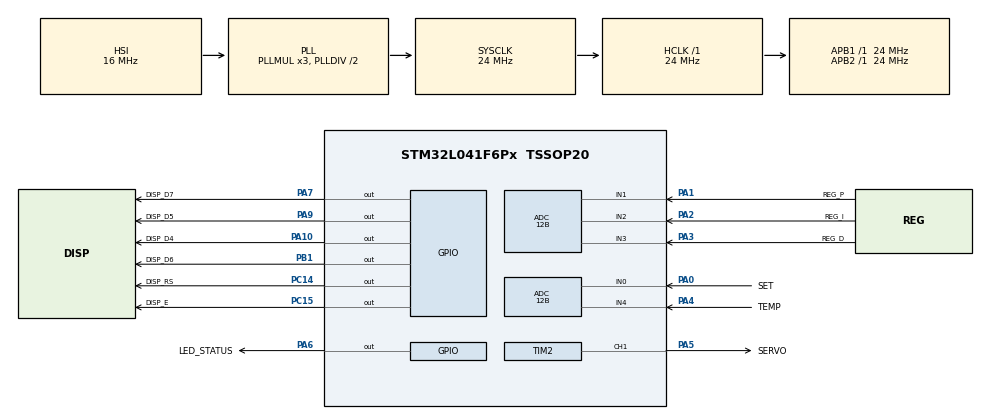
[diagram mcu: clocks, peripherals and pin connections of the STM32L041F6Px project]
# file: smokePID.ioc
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ADC.ClockPrescaler=ADC_CLOCK_SYNC_PCLK_DIV2
ADC.ContinuousConvMode=ENABLE
ADC.DMAContinuousRequests=ENABLE
ADC.Overrun=ADC_OVR_DATA_OVERWRITTEN
ADC.OversamplingMode=DISABLE
ADC.Resolution=ADC_RESOLUTION_12B
ADC.SamplingTime=ADC_SAMPLETIME_160CYCLES_5
Dma.ADC.0.Direction=DMA_PERIPH_TO_MEMORY
Dma.ADC.0.Instance=DMA1_Channel1
Dma.ADC.0.MemDataAlignment=DMA_MDATAALIGN_WORD
Dma.ADC.0.MemInc=DMA_MINC_ENABLE
Dma.ADC.0.Mode=DMA_CIRCULAR
Dma.ADC.0.PeriphDataAlignment=DMA_PDATAALIGN_WORD
Dma.ADC.0.PeriphInc=DMA_PINC_DISABLE
Dma.ADC.0.Priority=DMA_PRIORITY_LOW
Dma.Request0=ADC
Mcu.Family=STM32L0
Mcu.Name=STM32L041F6Px
Mcu.Package=TSSOP20
NVIC.DMA1_Channel1_IRQn=true\:0\:0\:false\:false\:true\:false\:true\:true
NVIC.TIM21_IRQn=true\:0\:0\:false\:false\:true\:true\:true\:true
PA0-CK_IN.GPIO_Label=SET
PA0-CK_IN.Mode=IN0
PA0-CK_IN.Signal=ADC_IN0
PA1.GPIO_Label=REG_P
PA1.Mode=IN1
PA1.Signal=ADC_IN1
PA10.GPIO_Label=DISP_D4
PA10.Signal=GPIO_Output
PA13.Mode=Serial_Wire
PA13.Signal=SYS_SWDIO
PA14.Mode=Serial_Wire
PA14.Signal=SYS_SWCLK
PA2.GPIO_Label=REG_I
PA2.Mode=IN2
PA2.Signal=ADC_IN2
PA3.GPIO_Label=REG_D
PA3.Mode=IN3
PA3.Signal=ADC_IN3
PA4.GPIO_Label=TEMP
PA4.Mode=IN4
PA4.Signal=ADC_IN4
PA5.GPIO_Label=SERVO
PA5.Signal=S_TIM2_CH1
PA6.GPIO_Label=LED_STATUS
PA6.Signal=GPIO_Output
PA7.GPIO_Label=DISP_D7
PA7.Signal=GPIO_Output
PA9.GPIO_Label=DISP_D5
PA9.Signal=GPIO_Output
PB1.GPIO_Label=DISP_D6
PB1.Signal=GPIO_Output
PC14-OSC32_IN.GPIO_Label=DISP_RS
PC14-OSC32_IN.Signal=GPIO_Output
PC15-OSC32_OUT.GPIO_Label=DISP_E
PC15-OSC32_OUT.Signal=GPIO_Output
ProjectManager.HeapSize=0x200
ProjectManager.StackSize=0x400
ProjectManager.TargetToolchain=STM32CubeIDE
RCC.AHBFreq_Value=24000000
RCC.APB1Freq_Value=24000000
RCC.APB1TimFreq_Value=24000000
RCC.APB2Freq_Value=24000000
RCC.APB2TimFreq_Value=24000000
RCC.HCLKFreq_Value=24000000
RCC.HSE_VALUE=8000000
RCC.HSI16_VALUE=16000000
RCC.HSI_VALUE=16000000
RCC.LSE_VALUE=32768
RCC.MSI_VALUE=2097000
RCC.SYSCLKFreq_VALUE=24000000
RCC.SYSCLKSource=RCC_SYSCLKSOURCE_PLLCLK
RCC.VCOOutputFreq_Value=48000000
SH.S_TIM2_CH1.0=TIM2_CH1,PWM Generation1 CH1
TIM2.Channel-PWM\ Generation1\ CH1=TIM_CHANNEL_1
TIM2.Period=19999
TIM2.Prescaler=23
TIM21.Period=199
TIM21.Prescaler=74
VP_TIM21_VS_ClockSourceINT.Mode=Internal
VP_TIM2_VS_ClockSourceINT.Mode=Internal
board=custom

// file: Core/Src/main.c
/* USER CODE BEGIN Header */
/**
 ******************************************************************************
 * @file           : main.c
 * @brief          : Main program body
 ******************************************************************************
 * @attention
 *
 * <h2><center>&copy; Copyright (c) 2021 STMicroelectronics.
 * All rights reserved.</center></h2>
 *
 * This software component is licensed by ST under BSD 3-Clause license,
 * the "License"; You may not use this file except in compliance with the
 * License. You may obtain a copy of the License at:
 *                        opensource.org/licenses/BSD-3-Clause
 *
 ******************************************************************************
 */
/* USER CODE END Header */
#include "main.h"

/* USER CODE BEGIN Includes */
#include "../Display/an_disp.h"
#include <math.h>
/* USER CODE END Includes */

ADC_HandleTypeDef hadc;
DMA_HandleTypeDef hdma_adc;

TIM_HandleTypeDef htim2;
TIM_HandleTypeDef htim21;

void SystemClock_Config(void);
static void MX_GPIO_Init(void);
static void MX_DMA_Init(void);
static void MX_ADC_Init(void);
static void MX_TIM2_Init(void);
static void MX_TIM21_Init(void);

/* USER CODE BEGIN 0 */

float conversionToMultiplier(uint16_t conversion, uint16_t maxMultiplier);
float conversionToTemperature(uint16_t conversion);
uint16_t conversionToServo(uint16_t reading);
int32_t PID(float targetValue, float currentValue, float *integralSum,
		float *lastError, uint32_t *Dcounter, float *xD, float Pmultiplier,
		float Imultiplier, float Dmultiplier);

uint32_t adcReadings[5];

float temperature;

uint32_t setPoint;

float amplificationP;
float amplificationI;
float amplificationD;

float integralSum;
float lastError;
uint32_t Dcounter;
float xD;

uint32_t throttle;

//resetowanie wyświetlacza co kilka sekund
volatile uint32_t displayRefreshCounter = 0;
volatile uint32_t displayRefreshDivider = 2000;
volatile uint8_t displayRefreshFlag = 0;

/* USER CODE END 0 */

int main(void)
{

  /* MCU Configuration--------------------------------------------------------*/

  /* Reset of all peripherals, Initializes the Flash interface and the Systick. */
  HAL_Init();

  /* Configure the system clock */
  SystemClock_Config();

  /* Initialize all configured peripherals */
  MX_GPIO_Init();
  MX_DMA_Init();
  MX_ADC_Init();
  MX_TIM2_Init();
  MX_TIM21_Init();
  /* USER CODE BEGIN 2 */

	//inicjalizacja wyświetlacza
	lcdInit();
	lcdLocate(4, 0);
	lcdStr("smokePID");
	lcdLocate(12, 1);
	lcdStr("v1.2");
	HAL_Delay(1000);

	//uruchomienie PWM
	HAL_TIM_PWM_Start(&htim2, TIM_CHANNEL_1);

	//test serwa
	lcdLocate(0, 1);
	lcdStr("MIN");
	__HAL_TIM_SET_COMPARE(&htim2, TIM_CHANNEL_1, 1000);
	HAL_Delay(1000);

	lcdLocate(0, 1);
	lcdStr("MAX");
	__HAL_TIM_SET_COMPARE(&htim2, TIM_CHANNEL_1, 2000);
	HAL_Delay(1000);

	lcdLocate(0, 1);
	lcdStr("MIN");
	__HAL_TIM_SET_COMPARE(&htim2, TIM_CHANNEL_1, 1000);
	HAL_Delay(1000);

	lcdClear();

	//kalibracja ADC
	HAL_ADCEx_Calibration_Start(&hadc, ADC_SINGLE_ENDED);

	//uruchomienie przetwornika
	HAL_ADC_Start_DMA(&hadc, adcReadings, 5);

	//uruchomienie niezależnego timera
	HAL_TIM_Base_Start_IT(&htim21);

  /* USER CODE END 2 */

  /* Infinite loop */
  /* USER CODE BEGIN WHILE */
	while (1) {

		//pokaż położenie przepustnicy
//		lcdLocate(8, 0);
//		if (throttle < 2000)
//			lcdInt((throttle - 1000) / 10);
//		else
//			lcdInt(99);
//		lcdStr(" ");

		//pokaż regulator
//		lcdLocate(6, 0);
//		lcdInt(xD);
//		lcdStr("  ");

		if(displayRefreshFlag){
			lcdInit();
			lcdClear();
			displayRefreshFlag = 0;
		}

		lcdLocate(6, 0);
		lcdStr(" PID");

		//pokaż zadaną temperaturę
		lcdLocate(0, 0);
		lcdInt(setPoint);
		lcdStr("stC ");

		//pokaż rzeczywistą temperaturę
		lcdLocate(11, 0);
		lcdInt((uint32_t) temperature);
		lcdStr("stC");

		//pokaż wzmocnienia regulatorów
		lcdLocate(0, 1);
		lcdFloat(amplificationP, 10);
		lcdStr(" ");

		lcdLocate(6, 1);
		lcdFloat(amplificationI, 100);
		lcdStr(" ");

		lcdLocate(12, 1);
		lcdFloat(amplificationD, 10);
		lcdStr(" ");

    /* USER CODE END WHILE */

    /* USER CODE BEGIN 3 */
	}

}

void HAL_TIM_PeriodElapsedCallback(TIM_HandleTypeDef *htim) {

	if (htim->Instance == TIM21) {
		//odświeżanie(reinicjalizacja) wyswietlacza(kasuje krzaki)
		displayRefreshCounter++;
		if(displayRefreshCounter >= displayRefreshDivider){
			displayRefreshFlag = 1;
			displayRefreshCounter = 0;
		}

		/*kanały ADC
		 * 0- ustawiona temperatura
		 * 1- wzmocnienie P
		 * 2- wzmocnienie I
		 * 3- wzmocnienie D
		 * 4- odczytana temperatura
		 */

		//test serwa i wejść adc
		//__HAL_TIM_SET_COMPARE(&htim2, TIM_CHANNEL_1,
		//conversionToServo(adcReadings[0]));

		//odczyt temperatury
		//różniczkowany
//		if (conversionToTemperature(adcReadings[4]) > temperature)
//			temperature = temperature + 0.01;
//		else if (conversionToTemperature(adcReadings[4]) < temperature)
//			temperature = temperature - 0.01;
		//bezpośredni
		temperature = conversionToTemperature(adcReadings[4]);

		//stała wartość
		//		temperature = 30.54;

		//odczyt zadanej temperatury
		setPoint = adcReadings[0] / 28;

		//odczyt wzmocnień
		amplificationP = conversionToMultiplier(adcReadings[1], 40);
		amplificationI = conversionToMultiplier(adcReadings[2], 10);
		amplificationD = conversionToMultiplier(adcReadings[3], 30);

		throttle = PID(setPoint, temperature, &integralSum, &lastError,
				&Dcounter, &xD, amplificationP, amplificationI, amplificationD)
				+ 1000;

		__HAL_TIM_SET_COMPARE(&htim2, TIM_CHANNEL_1, throttle);

	}

}

float conversionToMultiplier(uint16_t conversion, uint16_t maxMultiplier) {
	/*przelicz odczyt z potencjometru na mnożnik. Poniżej połowy- mnoznik ułamkowy.
	 Powyżej połowy- mnożnik całkowity o maksymalnej wartości maxMultiplier*/

	float reg;

	if (conversion < 2048) {
		reg = ((float) conversion * 1) / 2047;

	} else if (conversion >= 2048) {
		float conversion2 = (float) conversion - 2048;
		reg = ((maxMultiplier-1) * conversion2 / 2047) + 1;
	}
	return reg;
}

float conversionToTemperature(uint16_t conversion) {
	/*przelicz odczyt z termometru na temperaturę wg klucza 10mV/stC*/

	float temperature = (conversion * 3.3 / 4095) * 100;
	return temperature;
}

uint16_t conversionToServo(uint16_t reading) {
	return ((reading * 100) / 4095) + 100;
}

int32_t PID(float targetValue, float currentValue, float *integralSum,
		float *lastError, uint32_t *Dcounter, float *xD, float Pmultiplier,
		float Imultiplier, float Dmultiplier) {

	//obliczenie uchybu
	float currentError = targetValue - currentValue;

	//człon proporcjonalny
	float xP = currentError * Pmultiplier;

	//człon całkujący
	*integralSum = *integralSum + (currentError / 100);
	float xI = *integralSum * Imultiplier;

	//anty Wind-Up(blokada pętli całkowania)
	float antiWindUp = 1000;		//max windUp
	if (*integralSum >= antiWindUp && currentError > 0)
		*integralSum = antiWindUp;
	else if (*integralSum <= 0 - antiWindUp && currentError < 0)
		*integralSum = 0 - antiWindUp;
	//^ blokada ma zapobiec nieskończonemu wzrastaniu integralSum.

	//człon różniczkujący
	uint32_t Ddivider = 500;		//dzielnik opóźniający
	(*Dcounter)++;		//licznik wywołań funkcji PID
	if (*Dcounter >= Ddivider) {
		*xD = (currentError - *lastError) * Dmultiplier * 20; //-1
		*lastError = currentError;
		*Dcounter = 0;
	}
	//^Człon różniczkujący jest opóźniony, wykonuje się raz na divider wywołań funkcji.
	//potrzebuje do tego licznika(Dcounter), a xD jest zachowywane do następnego wywołania.

	//sumowanie korekt
	float sum = xP + xI + *xD;
	int32_t throttle = (int32_t) round(sum);

	int32_t maxThrottle = 1000;
	if (throttle > maxThrottle)
		throttle = maxThrottle;
	else if (throttle < 0)
		throttle = 0;

	return throttle;
  /* USER CODE END 3 */
}

void SystemClock_Config(void)
{
  RCC_OscInitTypeDef RCC_OscInitStruct = {0};
  RCC_ClkInitTypeDef RCC_ClkInitStruct = {0};

  /** Configure the main internal regulator output voltage
  */
  __HAL_PWR_VOLTAGESCALING_CONFIG(PWR_REGULATOR_VOLTAGE_SCALE1);
  /** Initializes the RCC Oscillators according to the specified parameters
  * in the RCC_OscInitTypeDef structure.
  */
  RCC_OscInitStruct.OscillatorType = RCC_OSCILLATORTYPE_HSI;
  RCC_OscInitStruct.HSIState = RCC_HSI_ON;
  RCC_OscInitStruct.HSICalibrationValue = RCC_HSICALIBRATION_DEFAULT;
  RCC_OscInitStruct.PLL.PLLState = RCC_PLL_ON;
  RCC_OscInitStruct.PLL.PLLSource = RCC_PLLSOURCE_HSI;
  RCC_OscInitStruct.PLL.PLLMUL = RCC_PLLMUL_3;
  RCC_OscInitStruct.PLL.PLLDIV = RCC_PLLDIV_2;
  if (HAL_RCC_OscConfig(&RCC_OscInitStruct) != HAL_OK)
  {
    Error_Handler();
  }
  /** Initializes the CPU, AHB and APB buses clocks
  */
  RCC_ClkInitStruct.ClockType = RCC_CLOCKTYPE_HCLK|RCC_CLOCKTYPE_SYSCLK
                              |RCC_CLOCKTYPE_PCLK1|RCC_CLOCKTYPE_PCLK2;
  RCC_ClkInitStruct.SYSCLKSource = RCC_SYSCLKSOURCE_PLLCLK;
  RCC_ClkInitStruct.AHBCLKDivider = RCC_SYSCLK_DIV1;
  RCC_ClkInitStruct.APB1CLKDivider = RCC_HCLK_DIV1;
  RCC_ClkInitStruct.APB2CLKDivider = RCC_HCLK_DIV1;

  if (HAL_RCC_ClockConfig(&RCC_ClkInitStruct, FLASH_LATENCY_1) != HAL_OK)
  {
    Error_Handler();
  }
}

static void MX_ADC_Init(void)
{

  ADC_ChannelConfTypeDef sConfig = {0};

  /** Configure the global features of the ADC (Clock, Resolution, Data Alignment and number of conversion)
  */
  hadc.Instance = ADC1;
  hadc.Init.OversamplingMode = DISABLE;
  hadc.Init.ClockPrescaler = ADC_CLOCK_SYNC_PCLK_DIV2;
  hadc.Init.Resolution = ADC_RESOLUTION_12B;
  hadc.Init.SamplingTime = ADC_SAMPLETIME_160CYCLES_5;
  hadc.Init.ScanConvMode = ADC_SCAN_DIRECTION_FORWARD;
  hadc.Init.DataAlign = ADC_DATAALIGN_RIGHT;
  hadc.Init.ContinuousConvMode = ENABLE;
  hadc.Init.DiscontinuousConvMode = DISABLE;
  hadc.Init.ExternalTrigConvEdge = ADC_EXTERNALTRIGCONVEDGE_NONE;
  hadc.Init.ExternalTrigConv = ADC_SOFTWARE_START;
  hadc.Init.DMAContinuousRequests = ENABLE;
  hadc.Init.EOCSelection = ADC_EOC_SINGLE_CONV;
  hadc.Init.Overrun = ADC_OVR_DATA_OVERWRITTEN;
  hadc.Init.LowPowerAutoWait = DISABLE;
  hadc.Init.LowPowerFrequencyMode = DISABLE;
  hadc.Init.LowPowerAutoPowerOff = DISABLE;
  if (HAL_ADC_Init(&hadc) != HAL_OK)
  {
    Error_Handler();
  }
  /** Configure for the selected ADC regular channel to be converted.
  */
  sConfig.Channel = ADC_CHANNEL_0;
  sConfig.Rank = ADC_RANK_CHANNEL_NUMBER;
  if (HAL_ADC_ConfigChannel(&hadc, &sConfig) != HAL_OK)
  {
    Error_Handler();
  }
  /** Configure for the selected ADC regular channel to be converted.
  */
  sConfig.Channel = ADC_CHANNEL_1;
  if (HAL_ADC_ConfigChannel(&hadc, &sConfig) != HAL_OK)
  {
    Error_Handler();
  }
  /** Configure for the selected ADC regular channel to be converted.
  */
  sConfig.Channel = ADC_CHANNEL_2;
  if (HAL_ADC_ConfigChannel(&hadc, &sConfig) != HAL_OK)
  {
    Error_Handler();
  }
  /** Configure for the selected ADC regular channel to be converted.
  */
  sConfig.Channel = ADC_CHANNEL_3;
  if (HAL_ADC_ConfigChannel(&hadc, &sConfig) != HAL_OK)
  {
    Error_Handler();
  }
  /** Configure for the selected ADC regular channel to be converted.
  */
  sConfig.Channel = ADC_CHANNEL_4;
  if (HAL_ADC_ConfigChannel(&hadc, &sConfig) != HAL_OK)
  {
    Error_Handler();
  }

}

static void MX_TIM2_Init(void)
{

  TIM_ClockConfigTypeDef sClockSourceConfig = {0};
  TIM_MasterConfigTypeDef sMasterConfig = {0};
  TIM_OC_InitTypeDef sConfigOC = {0};

  htim2.Instance = TIM2;
  htim2.Init.Prescaler = 23;
  htim2.Init.CounterMode = TIM_COUNTERMODE_UP;
  htim2.Init.Period = 19999;
  htim2.Init.ClockDivision = TIM_CLOCKDIVISION_DIV1;
  htim2.Init.AutoReloadPreload = TIM_AUTORELOAD_PRELOAD_DISABLE;
  if (HAL_TIM_Base_Init(&htim2) != HAL_OK)
  {
    Error_Handler();
  }
  sClockSourceConfig.ClockSource = TIM_CLOCKSOURCE_INTERNAL;
  if (HAL_TIM_ConfigClockSource(&htim2, &sClockSourceConfig) != HAL_OK)
  {
    Error_Handler();
  }
  if (HAL_TIM_PWM_Init(&htim2) != HAL_OK)
  {
    Error_Handler();
  }
  sMasterConfig.MasterOutputTrigger = TIM_TRGO_RESET;
  sMasterConfig.MasterSlaveMode = TIM_MASTERSLAVEMODE_DISABLE;
  if (HAL_TIMEx_MasterConfigSynchronization(&htim2, &sMasterConfig) != HAL_OK)
  {
    Error_Handler();
  }
  sConfigOC.OCMode = TIM_OCMODE_PWM1;
  sConfigOC.Pulse = 0;
  sConfigOC.OCPolarity = TIM_OCPOLARITY_HIGH;
  sConfigOC.OCFastMode = TIM_OCFAST_DISABLE;
  if (HAL_TIM_PWM_ConfigChannel(&htim2, &sConfigOC, TIM_CHANNEL_1) != HAL_OK)
  {
    Error_Handler();
  }
  HAL_TIM_MspPostInit(&htim2);

}

static void MX_TIM21_Init(void)
{

  TIM_ClockConfigTypeDef sClockSourceConfig = {0};
  TIM_MasterConfigTypeDef sMasterConfig = {0};

  htim21.Instance = TIM21;
  htim21.Init.Prescaler = 74;
  htim21.Init.CounterMode = TIM_COUNTERMODE_UP;
  htim21.Init.Period = 199;
  htim21.Init.ClockDivision = TIM_CLOCKDIVISION_DIV1;
  htim21.Init.AutoReloadPreload = TIM_AUTORELOAD_PRELOAD_DISABLE;
  if (HAL_TIM_Base_Init(&htim21) != HAL_OK)
  {
    Error_Handler();
  }
  sClockSourceConfig.ClockSource = TIM_CLOCKSOURCE_INTERNAL;
  if (HAL_TIM_ConfigClockSource(&htim21, &sClockSourceConfig) != HAL_OK)
  {
    Error_Handler();
  }
  sMasterConfig.MasterOutputTrigger = TIM_TRGO_RESET;
  sMasterConfig.MasterSlaveMode = TIM_MASTERSLAVEMODE_DISABLE;
  if (HAL_TIMEx_MasterConfigSynchronization(&htim21, &sMasterConfig) != HAL_OK)
  {
    Error_Handler();
  }

}

static void MX_DMA_Init(void)
{

  /* DMA controller clock enable */
  __HAL_RCC_DMA1_CLK_ENABLE();

  /* DMA interrupt init */
  /* DMA1_Channel1_IRQn interrupt configuration */
  HAL_NVIC_SetPriority(DMA1_Channel1_IRQn, 0, 0);
  HAL_NVIC_EnableIRQ(DMA1_Channel1_IRQn);

}

static void MX_GPIO_Init(void)
{
  GPIO_InitTypeDef GPIO_InitStruct = {0};

  /* GPIO Ports Clock Enable */
  __HAL_RCC_GPIOC_CLK_ENABLE();
  __HAL_RCC_GPIOA_CLK_ENABLE();
  __HAL_RCC_GPIOB_CLK_ENABLE();

  /*Configure GPIO pin Output Level */
  HAL_GPIO_WritePin(GPIOC, DISP_RS_Pin|DISP_E_Pin, GPIO_PIN_RESET);

  /*Configure GPIO pin Output Level */
  HAL_GPIO_WritePin(GPIOA, LED_STATUS_Pin|DISP_D7_Pin|DISP_D5_Pin|DISP_D4_Pin, GPIO_PIN_RESET);

  /*Configure GPIO pin Output Level */
  HAL_GPIO_WritePin(DISP_D6_GPIO_Port, DISP_D6_Pin, GPIO_PIN_RESET);

  /*Configure GPIO pins : DISP_RS_Pin DISP_E_Pin */
  GPIO_InitStruct.Pin = DISP_RS_Pin|DISP_E_Pin;
  GPIO_InitStruct.Mode = GPIO_MODE_OUTPUT_PP;
  GPIO_InitStruct.Pull = GPIO_NOPULL;
  GPIO_InitStruct.Speed = GPIO_SPEED_FREQ_LOW;
  HAL_GPIO_Init(GPIOC, &GPIO_InitStruct);

  /*Configure GPIO pins : LED_STATUS_Pin DISP_D7_Pin DISP_D5_Pin DISP_D4_Pin */
  GPIO_InitStruct.Pin = LED_STATUS_Pin|DISP_D7_Pin|DISP_D5_Pin|DISP_D4_Pin;
  GPIO_InitStruct.Mode = GPIO_MODE_OUTPUT_PP;
  GPIO_InitStruct.Pull = GPIO_NOPULL;
  GPIO_InitStruct.Speed = GPIO_SPEED_FREQ_LOW;
  HAL_GPIO_Init(GPIOA, &GPIO_InitStruct);

  /*Configure GPIO pin : DISP_D6_Pin */
  GPIO_InitStruct.Pin = DISP_D6_Pin;
  GPIO_InitStruct.Mode = GPIO_MODE_OUTPUT_PP;
  GPIO_InitStruct.Pull = GPIO_NOPULL;
  GPIO_InitStruct.Speed = GPIO_SPEED_FREQ_LOW;
  HAL_GPIO_Init(DISP_D6_GPIO_Port, &GPIO_InitStruct);

}

void Error_Handler(void)
{
	__disable_irq();
	while (1) {
	}
}

/************************ (C) COPYRIGHT STMicroelectronics *****END OF FILE****/
